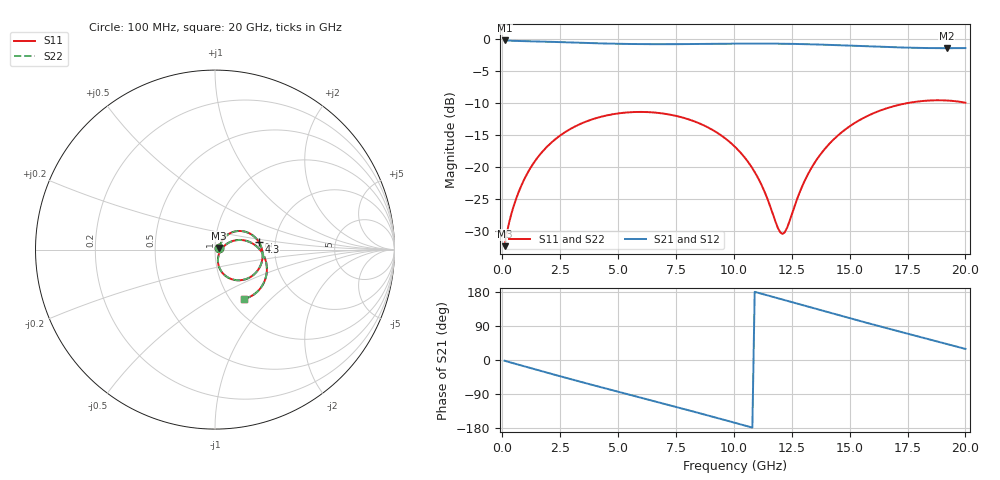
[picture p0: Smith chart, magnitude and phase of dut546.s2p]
! Touchstone file exported from HFSS 2026.1.0
!  File:  C:/ffzhzh/LocalFiles/Ansys_Project_Files/temp_train_TSV_RDL_546_1783114170_37876.aedt
!  Generated:  05:40:26 AM Jul  4, 2026
!  Design:  TSV_RDL
!  Project:  temp_train_TSV_RDL_546_1783114170_37876
! Variables:
!  h_bsmrdl = 3.76um
!  h_ox = 20um
!  h_rdl = 5um
!  h_sub = 86.18um
!  h_tmrdl = 4.96um
!  h_tsv = 86.18um
!  h_via = 3um
!  l_bsmrdl = 801.04um
!  l_sub = 5450.31um
!  l_tmrdl = 626.81um
!  m_sub = 200um
!  pitch = 34.6um
!  r_tsv = 7.29um
!  s_tmrdl = 10um
!  w_bsmrdl = 17.54um
!  w_sub = 500um
!  w_tmrdl = 29.11um
!  x_tsv_center1 = 641.365um
!  x_tsv_center2 = 1459.945um
!  x_tsv_center3 = 2115.865um
!  x_tsv_center4 = 2934.445um
!  x_tsv_center5 = 3590.365um
!  x_tsv_center6 = 4408.945um
# GHz S MA R 50.000000
! Terminal data exported
! Port[1] = TM_RDL1_1_T1
! Port[2] = TM_RDL5_1_T1
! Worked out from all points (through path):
!   200 points, 100 MHz to 20 GHz, reference 50 ohm
!   highest |S21| = -0.19 dB at 100 MHz (marker M1); lowest = -1.4 dB at 19.2 GHz (marker M2)
!   group delay of S21, straight-line fit = 45.9 ps
!   lowest |S11| = -32.4 dB at 100 MHz (marker M3), VSWR 1.05, Z = 52.2 + j1.03 ohm
!   |S11| at or under -10 dB: start of sweep to 17.5 GHz
!   |S22| runs from -32.4 to -9.6 dB; largest |S21 - S12| = 1.2e-13
!   S11 on the Smith chart (normalised r, x): 100 MHz: 1.04, +0.02; 4.3 GHz: 1.64, +0.15; 20 GHz: 1.16, -0.70
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0.1  0.02394 24.2  0.9784 -1.9  0.9784 -1.9  0.02394 24.2
! Gamma 0 0 0 0
! Port Impedance 50 0 50 0
0.3  0.03701 42.0  0.9745 -5.5  0.9745 -5.5  0.03701 42.0
0.6  0.05642 50.2  0.9704 -10.7  0.9704 -10.7  0.05643 50.2
1.3  0.1037 50.4  0.9638 -22.7  0.9638 -22.7  0.1037 50.4
2.3  0.1653 38.8  0.9518 -39.6  0.9518 -39.6  0.1653 38.8
3.5  0.2221 21.6  0.9362 -59.5  0.9362 -59.5  0.2221 21.6
4.3  0.248 9.8  0.9272 -72.4  0.9272 -72.4  0.248 9.8
5.5  0.268 -7.9  0.9181 -91.7  0.9181 -91.7  0.2679 -7.9
6.8  0.2641 -26.8  0.9147 -112.5  0.9147 -112.5  0.264 -26.9
8.6  0.2157 -52.5  0.9186 -141.7  0.9186 -141.7  0.2157 -52.5
10.1  0.1407 -71.5  0.9238 -166.6  0.9238 -166.6  0.1407 -71.5
11  0.08476 -77.4  0.925 178.2  0.925 178.2  0.08473 -77.3
11.9  0.03333 -48.9  0.9232 162.9  0.9232 162.9  0.03352 -48.5
12.1  0.02983 -25.6  0.9223 159.4  0.9223 159.4  0.03012 -25.4
12.3  0.03336 -2.2  0.9212 156.0  0.9212 156.0  0.03368 -2.3
13.4  0.1015 26.5  0.9121 137.3  0.9121 137.3  0.1018 26.3
14.1  0.1501 21.1  0.9038 125.4  0.9038 125.4  0.1503 20.9
15  0.2079 10.2  0.8915 110.3  0.8915 110.3  0.208 10.1
16.7  0.2916 -13.1  0.868 82.4  0.868 82.4  0.2917 -13.2
17.9  0.3245 -30.0  0.8561 63.1  0.8561 63.1  0.3246 -30.1
19.2  0.3314 -48.3  0.8512 42.2  0.8512 42.2  0.3314 -48.4
20  0.3183 -59.5  0.8528 29.3  0.8528 29.3  0.3183 -59.5
